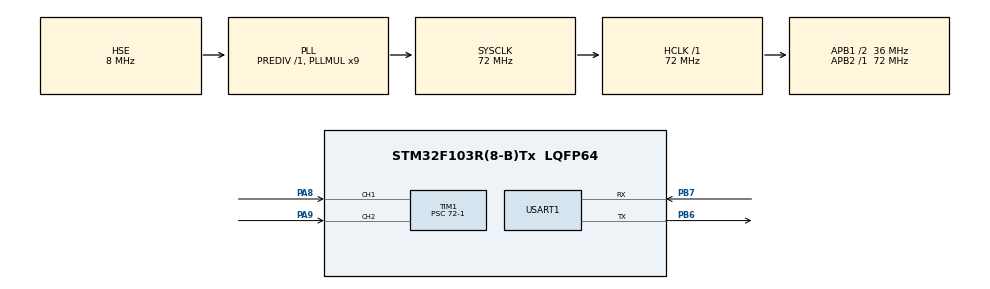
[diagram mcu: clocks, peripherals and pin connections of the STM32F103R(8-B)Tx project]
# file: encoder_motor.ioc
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Mcu.Family=STM32F1
Mcu.Name=STM32F103R(8-B)Tx
Mcu.Package=LQFP64
NVIC.PriorityGroup=NVIC_PRIORITYGROUP_4
NVIC.TIM2_IRQn=true\:0\:0\:false\:false\:true\:true\:true
PA8.GPIO_PuPd=GPIO_PULLUP
PA8.Signal=S_TIM1_CH1
PA9.GPIO_PuPd=GPIO_PULLUP
PA9.Signal=S_TIM1_CH2
PB6.Mode=Asynchronous
PB6.Signal=USART1_TX
PB7.Mode=Asynchronous
PB7.Signal=USART1_RX
PD0-OSC_IN.Mode=HSE-External-Oscillator
PD0-OSC_IN.Signal=RCC_OSC_IN
PD1-OSC_OUT.Mode=HSE-External-Oscillator
PD1-OSC_OUT.Signal=RCC_OSC_OUT
ProjectManager.HeapSize=0x200
ProjectManager.StackSize=0x400
ProjectManager.TargetToolchain=MDK-ARM V5.27
RCC.AHBFreq_Value=72000000
RCC.APB1CLKDivider=RCC_HCLK_DIV2
RCC.APB1Freq_Value=36000000
RCC.APB1TimFreq_Value=72000000
RCC.APB2Freq_Value=72000000
RCC.APB2TimFreq_Value=72000000
RCC.HCLKFreq_Value=72000000
RCC.PLLMUL=RCC_PLL_MUL9
RCC.PLLSourceVirtual=RCC_PLLSOURCE_HSE
RCC.SYSCLKFreq_VALUE=72000000
RCC.SYSCLKSource=RCC_SYSCLKSOURCE_PLLCLK
RCC.USBFreq_Value=72000000
SH.S_TIM1_CH1.0=TIM1_CH1,Encoder_Interface
SH.S_TIM1_CH2.0=TIM1_CH2,Encoder_Interface
TIM1.AutoReloadPreload=TIM_AUTORELOAD_PRELOAD_ENABLE
TIM1.EncoderMode=TIM_ENCODERMODE_TI12
TIM1.Prescaler=72-1
TIM2.AutoReloadPreload=TIM_AUTORELOAD_PRELOAD_ENABLE
TIM2.Channel-Output\ Compare1\ No\ Output=TIM_CHANNEL_1
TIM2.Period=10000-1
TIM2.Prescaler=7200-1
USART1.VirtualMode=VM_ASYNC
VP_SYS_VS_ND.Mode=No_Debug
VP_TIM2_VS_ClockSourceINT.Mode=Internal
VP_TIM2_VS_no_output1.Mode=Output Compare1 No Output
board=custom

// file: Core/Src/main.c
/* USER CODE BEGIN Header */
/**
  ******************************************************************************
  * @file           : main.c
  * @brief          : Main program body
  ******************************************************************************
  * @attention
  *
  * <h2><center>&copy; Copyright (c) 2021 STMicroelectronics.
  * All rights reserved.</center></h2>
  *
  * This software component is licensed by ST under BSD 3-Clause license,
  * the "License"; You may not use this file except in compliance with the
  * License. You may obtain a copy of the License at:
  *                        opensource.org/licenses/BSD-3-Clause
  *
  ******************************************************************************
  */
/* USER CODE END Header */
#include "main.h"
#include "tim.h"
#include "usart.h"
#include "gpio.h"

/* USER CODE BEGIN PD */
#define encode_accuracy 384
/* USER CODE END PD */

/* USER CODE BEGIN PV */
uint8_t direction;
uint16_t CaptureNumber;
uint8_t angles;
/* USER CODE END PV */

void SystemClock_Config(void);

/* USER CODE BEGIN 0 */
/**
  * @brief  串口发送函数
  * @retval None
  */
#include "stdio.h"
#include "stdarg.h"
#include "string.h"

#define    TXBUF_SIZE_MAX    100

void uartx_printf(UART_HandleTypeDef huartx, const char *format, ...)
{
    va_list args;
    uint32_t length;
    uint8_t txbuf[TXBUF_SIZE_MAX] = {0};

    va_start(args, format);
    length = vsnprintf((char *)txbuf, sizeof(txbuf), (char *)format, args);
    va_end(args);
    HAL_UART_Transmit(&huartx, (uint8_t *)txbuf, length, HAL_MAX_DELAY);
    memset(txbuf, 0, TXBUF_SIZE_MAX);
};
/* USER CODE END 0 */

int main(void)
{

  /* MCU Configuration--------------------------------------------------------*/

  /* Reset of all peripherals, Initializes the Flash interface and the Systick. */
  HAL_Init();

  /* Configure the system clock */
  SystemClock_Config();

  /* Initialize all configured peripherals */
  MX_GPIO_Init();
  MX_TIM1_Init();
  MX_TIM2_Init();
  MX_USART1_UART_Init();
  /* USER CODE BEGIN 2 */
  HAL_TIM_Encoder_Start(&htim1, TIM_CHANNEL_ALL);
  HAL_TIM_Base_Start_IT(&htim2);
  /* USER CODE END 2 */

  /* Infinite loop */
  while (1)
  {

  }
}

void SystemClock_Config(void)
{
  RCC_OscInitTypeDef RCC_OscInitStruct = {0};
  RCC_ClkInitTypeDef RCC_ClkInitStruct = {0};

  /** Initializes the RCC Oscillators according to the specified parameters
  * in the RCC_OscInitTypeDef structure.
  */
  RCC_OscInitStruct.OscillatorType = RCC_OSCILLATORTYPE_HSE;
  RCC_OscInitStruct.HSEState = RCC_HSE_ON;
  RCC_OscInitStruct.HSEPredivValue = RCC_HSE_PREDIV_DIV1;
  RCC_OscInitStruct.HSIState = RCC_HSI_ON;
  RCC_OscInitStruct.PLL.PLLState = RCC_PLL_ON;
  RCC_OscInitStruct.PLL.PLLSource = RCC_PLLSOURCE_HSE;
  RCC_OscInitStruct.PLL.PLLMUL = RCC_PLL_MUL9;
  if (HAL_RCC_OscConfig(&RCC_OscInitStruct) != HAL_OK)
  {
    Error_Handler();
  }
  /** Initializes the CPU, AHB and APB buses clocks
  */
  RCC_ClkInitStruct.ClockType = RCC_CLOCKTYPE_HCLK|RCC_CLOCKTYPE_SYSCLK
                              |RCC_CLOCKTYPE_PCLK1|RCC_CLOCKTYPE_PCLK2;
  RCC_ClkInitStruct.SYSCLKSource = RCC_SYSCLKSOURCE_PLLCLK;
  RCC_ClkInitStruct.AHBCLKDivider = RCC_SYSCLK_DIV1;
  RCC_ClkInitStruct.APB1CLKDivider = RCC_HCLK_DIV2;
  RCC_ClkInitStruct.APB2CLKDivider = RCC_HCLK_DIV1;

  if (HAL_RCC_ClockConfig(&RCC_ClkInitStruct, FLASH_LATENCY_2) != HAL_OK)
  {
    Error_Handler();
  }
}

/* USER CODE BEGIN 4 */
void HAL_TIM_PeriodElapsedCallback(TIM_HandleTypeDef *htim) {
  uint16_t current_count;
  static uint16_t pre_count;
  if (htim->Instance == htim1.Instance) {
    direction = __HAL_TIM_IS_TIM_COUNTING_DOWN(&htim1);
    current_count = __HAL_TIM_GET_COUNTER(&htim2);
    CaptureNumber = current_count - pre_count;
    pre_count = current_count;
    angles = CaptureNumber / encode_accuracy * 360;
    uartx_printf(huart1, "速度为%d/s\r\n", CaptureNumber);
  }
}
/* USER CODE END 4 */

void Error_Handler(void)
{
}

/************************ (C) COPYRIGHT STMicroelectronics *****END OF FILE****/
